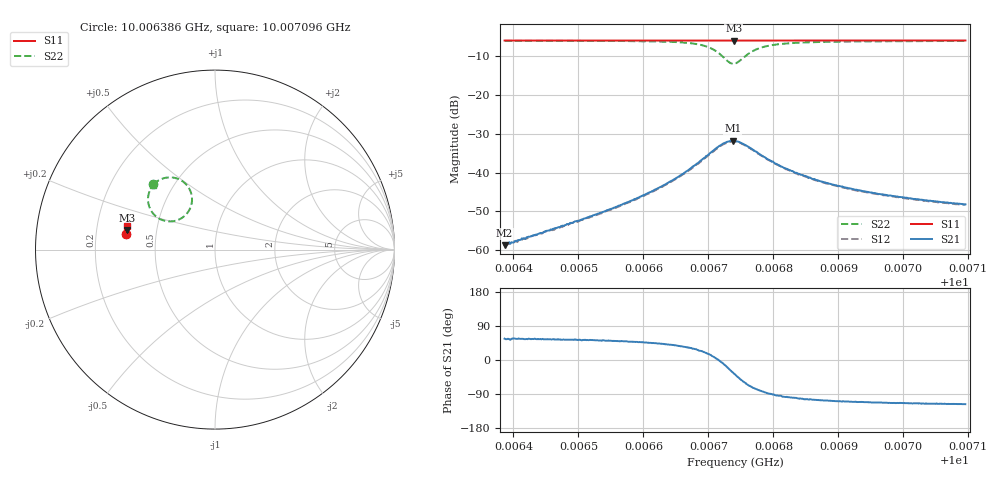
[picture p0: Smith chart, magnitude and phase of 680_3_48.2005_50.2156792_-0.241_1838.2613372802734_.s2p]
#  HZ  S  RI  R  50.00
! Rohde & Schwarz Vector Network Analyzer
! Rohde-Schwarz,ZNB20-2Port,1311601062101988,3.16
! Created: UTC 3/20/2024, 12:06:36 PM
! freq[Hz]  re:S11  im:S11  re:S21  im:S21  re:S12  im:S12  re:S22  im:S22
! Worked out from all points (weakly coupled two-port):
!   401 points, 10.006386 GHz to 10.007096 GHz, reference 50 ohm
!   highest |S21| = -31.77 dB at 10.006737 GHz (marker M1); lowest = -58.7 dB at 10.006386 GHz (marker M2)
!   lowest |S11| = -6.0 dB at 10.006739 GHz (marker M3), VSWR 3.02, Z = 16.8 + j4.78 ohm
!   |S11| at or under -10 dB: nowhere
!   |S22| runs from -11.9 to -6.0 dB; largest |S21 - S12| = 0.0018
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1.00063865e10  -0.4968 0.085  0.000646 0.000969  0.000608 0.000953  -0.3444 0.3629
1.00065053e10  -0.4956 0.093  0.00154 0.00195  0.00136 0.00204  -0.3289 0.3761
1.00065673e10  -0.4948 0.0971  0.00249 0.00298  0.00233 0.00302  -0.3142 0.3855
1.0006624e10  -0.4942 0.1011  0.00464 0.00441  0.00434 0.00453  -0.2884 0.3969
1.00066612e10  -0.4933 0.1036  0.00791 0.00561  0.00754 0.00588  -0.2531 0.4025
1.00066949e10  -0.4923 0.1059  0.0148 0.00532  0.0143 0.00591  -0.188 0.3852
1.00067091e10  -0.4916 0.1066  0.0196 0.00253  0.0188 0.00348  -0.15 0.3496
1.00067215e10  -0.4908 0.1069  0.0232 -0.00314  0.0227 -0.00178  -0.1285 0.2896
1.00067304e10  -0.4906 0.1069  0.0234 -0.00911  0.0235 -0.00746  -0.1369 0.2339
1.00067375e10  -0.4906 0.1069  0.0217 -0.0139  0.022 -0.0123  -0.1635 0.1931
1.00067392e10  -0.4905 0.1067  0.0209 -0.0149  0.0214 -0.0134  -0.1726 0.1849
1.0006741e10  -0.4905 0.1067  0.0201 -0.0159  0.0206 -0.0144  -0.1825 0.1777
1.00067517e10  -0.4911 0.1071  0.0142 -0.0194  0.0149 -0.0181  -0.2464 0.1569
1.00067641e10  -0.4915 0.1076  0.0076 -0.0194  0.00864 -0.0188  -0.3072 0.1706
1.00067853e10  -0.4919 0.1091  0.00152 -0.0159  0.00254 -0.0157  -0.357 0.2183
1.00068137e10  -0.492 0.1113  -0.00139 -0.0118  -0.000608 -0.0117  -0.3726 0.2652
1.00068598e10  -0.4917 0.1147  -0.0021 -0.00807  -0.0017 -0.00811  -0.3705 0.3048
1.00068952e10  -0.4912 0.117  -0.00217 -0.00655  -0.0018 -0.00658  -0.3661 0.3211
1.00069271e10  -0.4907 0.1191  -0.00209 -0.00567  -0.00182 -0.00562  -0.362 0.331
1.00069785e10  -0.4901 0.1225  -0.002 -0.00467  -0.00176 -0.0047  -0.3562 0.3423
1.00070406e10  -0.4893 0.1265  -0.00187 -0.00393  -0.0016 -0.00395  -0.3501 0.3518
1.00070955e10  -0.4884 0.13  -0.00175 -0.0035  -0.00156 -0.00351  -0.3457 0.3582
